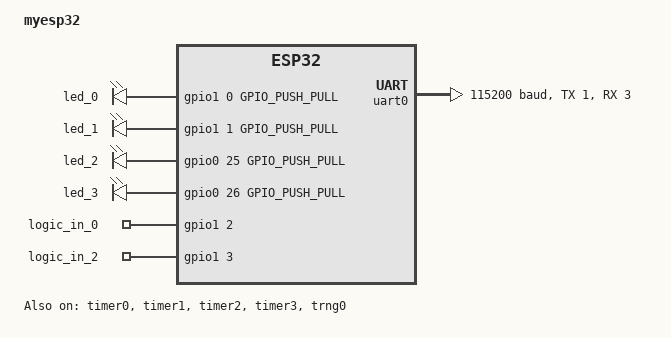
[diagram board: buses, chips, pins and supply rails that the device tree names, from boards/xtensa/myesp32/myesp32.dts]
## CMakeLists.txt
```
# SPDX-License-Identifier: Apache-2.0
cmake_minimum_required(VERSION 3.13.1)

set(BOARD_ROOT ${CMAKE_CURRENT_LIST_DIR})
set(BOARD mystm32)

include($ENV{ZEPHYR_BASE}/cmake/app/boilerplate.cmake NO_POLICY_SCOPE)
project(proj)





include(../common/src/CMakeLists.txt)

FILE(GLOB app_sources_c src/*.c)
FILE(GLOB app_sources_cpp src/*.cpp)

set(app_sources
  ${app_sources_c}
  ${app_sources_cpp}
)

target_sources(app PRIVATE ${app_sources})
target_link_libraries(app PUBLIC controllib)
```

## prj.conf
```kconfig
CONFIG_LOG=y
CONFIG_EXCEPTION_STACK_TRACE=y
CONFIG_DEBUG_INFO=y

CONFIG_CPLUSPLUS=y
CONFIG_MINIMAL_LIBC_MALLOC_ARENA_SIZE=4096
CONFIG_NEWLIB_LIBC=y
CONFIG_NEWLIB_LIBC_FLOAT_PRINTF=y
CONFIG_NEWLIB_LIBC_FLOAT_SCANF=y
CONFIG_GPIO=y

CONFIG_SHELL=y
CONFIG_SHELL_STACK_SIZE=1024

CONFIG_SERIAL=y
CONFIG_UART_INTERRUPT_DRIVEN=y
CONFIG_DEBUG_OPTIMIZATIONS=y

CONFIG_ADC=y
CONFIG_DAC=y
```

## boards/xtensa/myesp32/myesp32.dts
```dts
/*
 * Copyright (c) 2019 Intel Corporation.
 *
 * SPDX-License-Identifier: Apache-2.0
 */
/dts-v1/;

#include <espressif/esp32.dtsi>

/ {
	model = "myesp32";
	compatible = "espressif,esp32";

	aliases {
		uart-0 = &uart0;
		i2c-0 = &i2c0;
	};

	chosen {
		zephyr,sram = &sram0;
		zephyr,console = &uart0;
		zephyr,shell-uart = &uart0;
		zephyr,flash = &flash0;
	};

	outputs {
		compatible = "gpio-leds";
		led_0: led_0 {
			gpios = <&gpio1 0 GPIO_PUSH_PULL>;
		};
		led_1: led_1 {
			gpios = <&gpio1 1 GPIO_PUSH_PULL>;
		};
		led_2: led_2 {
			gpios = <&gpio0 25 GPIO_PUSH_PULL>;
		};
		led_3: led_3 {
			gpios = <&gpio0 26 GPIO_PUSH_PULL>;
		};
	};
	inputs {
		compatible = "gpio-keys";
		logic_in_0: logic_in0 {
			label = "logic_in_0";
			gpios = <&gpio1 2 GPIO_SINGLE_ENDED>;
		};
		logic_in_1: logic_in1 {
			label = "logic_in_2";
			gpios = <&gpio1 3 GPIO_SINGLE_ENDED>;
		};
	};
};

&cpu0 {
	clock-frequency = <ESP32_CLK_CPU_240M>;
};

&cpu1 {
	clock-frequency = <ESP32_CLK_CPU_240M>;
};

&uart0 {
	status = "okay";
	current-speed = <115200>;
	tx-pin = <1>;
	rx-pin = <3>;
//	rts-pin = <22>;
//	cts-pin = <19>;
};

//&uart1 {
//	current-speed = <115200>;
//	tx-pin = <10>;
//	rx-pin = <9>;
//	rts-pin = <11>;
//	cts-pin = <6>;
//	hw-flow-control;
//};

//&uart2 {
//	current-speed = <115200>;
//	tx-pin = <17>;
//	rx-pin = <16>;
//	rts-pin = <7>;
//	cts-pin = <8>;
//	hw-flow-control;
//};

/*
&i2c0 {
	status = "okay";
	clock-frequency = <I2C_BITRATE_FAST>;
	sda-pin = <21>;
	scl-pin = <22>;
};

&i2c1 {
	clock-frequency = <I2C_BITRATE_FAST>;
	sda-pin = <18>;
	scl-pin = <5>;
};
&spi2 {
	#address-cells = <1>;
	#size-cells = <0>;
	status = "okay";
	miso-pin = <12>;
	mosi-pin = <13>;
	sclk-pin = <14>;
	csel-pin = <15>;
};

&spi3 {
	#address-cells = <1>;
	#size-cells = <0>;
	status = "okay";
	miso-pin = <19>;
	mosi-pin = <23>;
	sclk-pin = <18>;
	csel-pin = <5>;
};
*/
&timer0 {
	status = "okay";
};

&timer1 {
	status = "okay";
};

&timer2 {
	status = "okay";
};

&timer3 {
	status = "okay";
};

&trng0 {
	status = "okay";
};

&flash0 {
	status = "okay";
	partitions {
		compatible = "fixed-partitions";
		#address-cells = <1>;
		#size-cells = <1>;

		storage_partition: partition@9000 {
			label = "storage";
			reg = <0x00009000 0x00006000>;
		};
	};
};
```

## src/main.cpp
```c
#include "main.h"

#include <stdlib.h>
#include <stdio.h>

#include <zephyr.h>
#include <logging/log.h>
#include <sys/printk.h>
#include <shell/shell.h>

#include "Board.h"
#include "ModuleCom.h"
#include "Settings.h"

//LOG_MODULE_DECLARE(main);
LOG_MODULE_REGISTER(main, LOG_LEVEL_INF);


volatile long blinkInterval = 1000;
volatile DeviceState::State device_state = DeviceState::DEMO;




#include <heater.h>
Heater heater;
/**
 * in0 enables heater
 * aIn1 is seen as Temperature
 */
void controlloop(){
	static int iteration = 0;

	heater.SetEnabled(BOARD.in0->Read());
	heater.SetCurrentTemperature(BOARD.aIn1->Read());
	heater.SetConfigTemperatureMin(SETTINGS.Get(Settings::TEMPERATURE_MIN) * 0.001F);
	heater.SetConfigTemperatureMax(SETTINGS.Get(Settings::TEMPERATURE_MAX) * 0.001F);

	heater.Process();

	BOARD.led2->Write(heater.GetHeaterState());

	if((iteration++%10) == 0) {
		FuncFrame frame;
		frame.func = 1;
		frame.subFunc = 0;
		frame.i32 = static_cast<int32_t>(BOARD.aIn1->Read() * 1000.F);
		dataSendFrame(frame);

		if(SETTINGS.Get(Settings::CONTROL_LOG_ENABLE))
		{
			printf("[controlloop] Itr: %d, Enabled: %d, Heating: %d, Temperature: %d.%03d\n",
						iteration,
						BOARD.in0->Read(), heater.GetHeaterState(), 
						static_cast<int32_t>(BOARD.aIn1->Read()),
						static_cast<int32_t>(BOARD.aIn1->Read()*1000)%1000);
		}
	}
}

#include <MockHardware.h>
MockHardware mockHardware;

void hw_mock() {
	static int iteration = 0;

	mockHardware.SetHeating(BOARD.in0->Read());
	mockHardware.Process();
	BOARD.aOut0->Write(mockHardware.GetTemperature());

	if((iteration++%10) == 0) {
		if(SETTINGS.Get(Settings::CONTROL_LOG_ENABLE))
		{
			printf("[hw_mock] Itr: %d, Enabled: %d, Heating: %d, Temperature: %d.%03d\n", 
						iteration,
						BOARD.led2->Read(),
						BOARD.in0->Read(),
						static_cast<int32_t>(mockHardware.GetTemperature()),
						static_cast<int32_t>(mockHardware.GetTemperature()*1000)%1000);
		}
	}
}


K_TIMER_DEFINE(timer_controlloop, NULL, NULL);
void controlloop_task(void)
{
	LOG_INF("[controlloop] Run");

	for (size_t loopIter = 0;;loopIter++) {
		k_timer_status_sync(&timer_controlloop);
		LOG_DBG("[controlloop] %d", loopIter);
		if(device_state == DeviceState::CONTROLLOOP){
			controlloop();
		} else if(device_state == DeviceState::HW_MOCK){
			hw_mock();
		}
	}
}





void main(void)
{
	LOG_INF("[BOARD]: %s", CONFIG_BOARD);

	BOARD.Init();

	k_timer_start(&timer_controlloop, K_MSEC(500), K_MSEC(20));

	LOG_INF("[main] Run");
	for (size_t loopIter = 0;;loopIter++) {
		LOG_DBG("loopIter %d", loopIter);
		if(device_state == DeviceState::DEMO){
			float dac_value = (loopIter%1000)*0.001;
			BOARD.aOut0->Write(dac_value);

			if((loopIter%20) == 0) {
				LOG_INF("DAC: %d", static_cast<int>(dac_value*1000));
				LOG_INF("ADC0: %d", static_cast<int>(BOARD.aIn0->Read()*1000));
				LOG_INF("ADC1: %d", static_cast<int>(BOARD.aIn1->Read()*1000));
			}
		}
		BOARD.led0->Write(!BOARD.led0->Read());
		k_msleep(blinkInterval);
	}
}

#define STACKSIZE 1024
#define PRIORITY 7

K_THREAD_DEFINE(controlloop_id, STACKSIZE, controlloop_task, NULL, NULL, NULL,
		PRIORITY, 0, 0);
```

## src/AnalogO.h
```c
#include <zephyr.h>
#include <device.h>
#include <devicetree.h>
#include <drivers/dac.h>

class AnalogOut
{
const struct device* m_dac_dev;
const struct dac_channel_cfg m_dac_ch_cfg;

public:
	AnalogOut(const struct device* dev_dac, const uint8_t channel_id, const uint8_t resolution);

	void Init();
	void Write(float value);
};
```

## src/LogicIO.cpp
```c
#include "LogicIO.h"
#include <logging/log.h>

LOG_MODULE_REGISTER(LogicIO, LOG_LEVEL_INF);


Button::Button(const struct gpio_dt_spec button, const gpio_flags_t extra_flags):
  m_button(button),
  m_extra_flags(extra_flags)
{}
  
void Button::Init() {
  if (!device_is_ready(m_button.port)) {
    LOG_ERR("Error: button device %s is not ready\n",
          m_button.port->name);
    return;
  }
  int ret = gpio_pin_configure_dt(&m_button, m_extra_flags);
  if (ret != 0) {
    LOG_ERR("Error %d: failed to configure %s pin %d\n",
          ret, m_button.port->name, m_button.pin);
    return;
  }
}

uint32_t Button::Read() const
{
  if (!device_is_ready(m_button.port)) return 0;
  return gpio_pin_get_dt(&m_button);
}

void Button::Write(uint32_t state) {
  if (device_is_ready(m_button.port))
    gpio_pin_set(m_button.port, m_button.pin, state);
}
```

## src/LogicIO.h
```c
#pragma once

#include <stdint.h>


class IOLogic {
public:
	virtual uint32_t Read() const;
	virtual void Write(uint32_t state);
};

#include <zephyr.h>
#include <device.h>
#include <devicetree.h>
#include <drivers/gpio.h>

class Button : public IOLogic
{
	const struct gpio_dt_spec m_button;
	const gpio_flags_t m_extra_flags;

public:
	Button(const struct gpio_dt_spec button, const gpio_flags_t extra_flags = GPIO_INPUT);
		
  void Init();
	virtual uint32_t Read() const;
	virtual void Write(uint32_t state);};
```

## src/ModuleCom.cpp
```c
#include "ModuleCom.h"

#include <zephyr.h>
#include <device.h>
#include <devicetree.h>
#include <sys/printk.h>
#include <shell/shell.h>
#include <drivers/uart.h>
#include "Settings.h"

#define UART_NODE DT_LABEL(DT_ALIAS(intermdule))

LOG_MODULE_REGISTER(ModCom, LOG_LEVEL_WRN);

struct FrameData {
	struct Buffer {
		uint8_t buffer[sizeof(FuncFrame)];
		size_t idx;
	} in, frame;
	struct BufferOut {
		union {
			uint8_t buffer[sizeof(FuncFrame)];
			FuncFrame frame;
		};
		size_t idx;
		size_t length;
	} out;
	int64_t lastDataTime;
	int64_t frameDuration;
};



typedef void (*ModuleComCallI32)(const uint32_t subFunc, const int32_t value);

void ModuleComCall_0(const uint32_t subFunc, const int32_t idx) {
	LOG_INF("[dataParser] ModuleComCall_0");

	FuncFrame frame;
	frame.func = 0;

	if(subFunc >= Settings::Size())
	{
		LOG_WRN("[dataParser] No Setting %d", idx);
	}
	else if(subFunc == 0 && idx == 0)
	{
		LOG_WRN("[dataParser] Try to Readback readback");
	}
	else if(subFunc == 0 && idx >= Settings::Size())
	{
		LOG_WRN("[dataParser] No Setting %d", idx);
	}
	else if(subFunc == 0)
	{
		frame.subFunc = idx;
		frame.i32 = SETTINGS.Get(static_cast<const Settings::Value>(idx));
		dataSendFrame(frame);
	}
	else
	{
		SETTINGS.Set(static_cast<const Settings::Value>(subFunc), idx);
	}
}

void ModuleComCall_1(const uint32_t subFunc, const int32_t value) {
	LOG_INF("[dataParser] ModuleComCall_1 %d: %d", subFunc, value);
}

void ModuleComCall_2(const uint32_t subFunc, const int32_t value) {
	LOG_INF("[dataParser] ModuleComCall_2 %d: %d", subFunc, value);
}

const ModuleComCallI32 calls[] = {
	ModuleComCall_0,
	ModuleComCall_1,
	ModuleComCall_2
};




K_SEM_DEFINE(semDataOut, 1, 1);
K_SEM_DEFINE(semDataIn, 0, 1);
static void uart_fifo_callback(const struct device *dev, void *user_data)
{
	struct FrameData* buffer = (struct FrameData*)user_data;

	if (!uart_irq_update(dev)) {
		LOG_WRN("UART IRQ Fail");
		return;
	}

	if (uart_irq_tx_ready(dev)) {
    if(buffer->out.idx >= buffer->out.length) {
			k_sem_give(&semDataOut);
		  uart_irq_tx_disable(dev);
		} else {
			uart_fifo_fill(dev, &buffer->out.buffer[buffer->out.idx++], 1);
		}
	}

	if (uart_irq_rx_ready(dev)) {
		uint8_t recvData;
		uart_fifo_read(dev, &recvData, 1);
		int64_t now = k_uptime_get();
		if((buffer->lastDataTime + buffer->frameDuration) < now){
			buffer->in.idx = 0;
			for(size_t idx = 0; idx < sizeof(buffer->in.buffer)-1; idx++) {
				buffer->in.buffer[idx] = 0;
			}
		}

		if(buffer->in.idx == 0) 
			buffer->lastDataTime = now;

		if(buffer->in.idx < sizeof(buffer->in.buffer)-1) {
			buffer->in.buffer[buffer->in.idx++] = recvData;
		} else {
			for(size_t idx = 0; idx < sizeof(buffer->in.buffer); idx++) {
				if(idx < buffer->in.idx)
					buffer->frame.buffer[idx] = buffer->in.buffer[idx];
				else
					buffer->frame.buffer[idx] = 0;
			}
			buffer->frame.idx = buffer->in.idx;
			buffer->in.idx = 0;
			k_sem_give(&semDataIn);
		}
	}
}






struct FrameData frameData;
const struct device *uart_dev = device_get_binding(UART_NODE);


bool dataSendFrame(const FuncFrame& frame, const float timeout)
{
	return dataSend(reinterpret_cast<const uint8_t*>(&frame), sizeof(frame), timeout);
}

bool dataSend(const uint8_t* const data, const size_t length, float timeout)
{
	if(k_sem_take(&semDataOut, K_MSEC(timeout*1000)) != 0)
		return false;

  if(length > sizeof(frameData.out.buffer)) {
    frameData.out.length = sizeof(frameData.out.buffer);
  } else {
    frameData.out.length = length;
  }
  
  for(size_t idx = 0; idx < frameData.out.length; idx++)
  {
    frameData.out.buffer[idx] = data[idx];
  }
  frameData.out.idx = 0;
	uart_irq_tx_enable(uart_dev);

	return true; 
}



void dataParser(void)
{
	LOG_INF("[dataParser] Init");
	if(!device_is_ready(uart_dev)) {
		LOG_ERR("Can't setup " UART_NODE "");
		return;
	}

	frameData.frameDuration = 10;
	uart_irq_callback_user_data_set(uart_dev, uart_fifo_callback, &frameData);
	uart_irq_rx_enable(uart_dev);

	LOG_INF("[dataParser] Run");
	for (size_t loopIter = 0;;loopIter++) {
		if (k_sem_take(&semDataIn, K_MSEC(10000)) != 0) {
			LOG_INF("[dataParser] Timeout");
			LOG_HEXDUMP_DBG(frameData.in.buffer, sizeof(frameData.in.buffer), "Buffer");
    } else {
			FuncFrame* funcFrame = reinterpret_cast<FuncFrame*>(frameData.in.buffer);


			if(SETTINGS.Get(Settings::MODCOM_LOG_ENABLE))
			{
				printk("[dataParser] Fun: %d, SubFun: %d, Val: %d\n",
						funcFrame->func, funcFrame->subFunc, funcFrame->i32);
			}

			if(funcFrame->func < sizeof(calls)/sizeof(calls[0]))
				calls[funcFrame->func](funcFrame->subFunc, funcFrame->i32);

			LOG_HEXDUMP_DBG(frameData.frame.buffer, sizeof(frameData.frame.buffer), "Buffer");
		}
	}
}


K_THREAD_DEFINE(dataParser_id, 1024, dataParser, NULL, NULL, NULL, 7, 0, 0);
```

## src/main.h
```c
#pragma once


struct DeviceState {
	enum State {
		TESTFRAMEWORK,  // Bare testing
		DEMO,						// toggle GPIOs do Analog read / write
		CONTROLLOOP,		// Active controlloop
		HW_MOCK					// Mock Hardware for Tests
	};
};

extern volatile long blinkInterval;
extern volatile DeviceState::State device_state;
```
